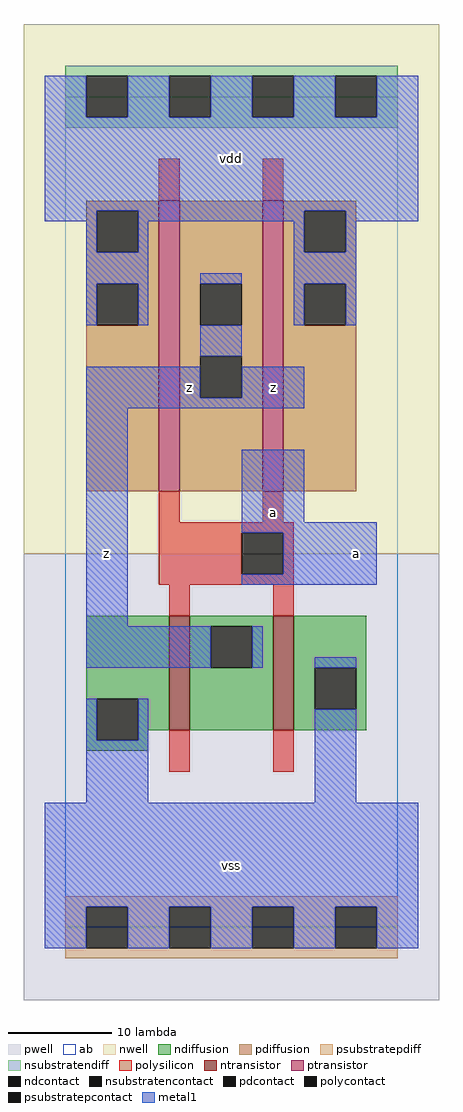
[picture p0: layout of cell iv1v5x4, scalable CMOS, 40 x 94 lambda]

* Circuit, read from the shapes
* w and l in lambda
.subckt iv1v5x4 a vdd vss z
M1 z a vss vss nfet w=11 l=2 m=2
M2 z a vdd vdd pfet w=28 l=2 m=2
.ends

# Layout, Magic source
magic
tech scmos
<< ab >>
rect 0 0 32 80
<< pwell >>
rect -4 -7 36 36
<< nwell >>
rect -4 36 36 87
<< polysilicon >>
rect 9 70 11 74
rect 19 70 21 74
rect 9 39 11 42
rect 19 39 21 42
rect 9 38 22 39
rect 9 34 17 38
rect 21 34 22 38
rect 9 33 22 34
rect 10 30 12 33
rect 20 30 22 33
rect 10 15 12 19
rect 20 15 22 19
<< ndiffusion >>
rect 2 22 10 30
rect 2 18 3 22
rect 7 19 10 22
rect 12 29 20 30
rect 12 25 14 29
rect 18 25 20 29
rect 12 19 20 25
rect 22 25 29 30
rect 22 21 24 25
rect 28 21 29 25
rect 22 19 29 21
rect 7 18 8 19
rect 2 17 8 18
<< pdiffusion >>
rect 2 69 9 70
rect 2 65 3 69
rect 7 65 9 69
rect 2 62 9 65
rect 2 58 3 62
rect 7 58 9 62
rect 2 42 9 58
rect 11 62 19 70
rect 11 58 13 62
rect 17 58 19 62
rect 11 55 19 58
rect 11 51 13 55
rect 17 51 19 55
rect 11 42 19 51
rect 21 69 28 70
rect 21 65 23 69
rect 27 65 28 69
rect 21 62 28 65
rect 21 58 23 62
rect 27 58 28 62
rect 21 42 28 58
<< metal1 >>
rect -2 78 2 82
rect 6 78 10 82
rect 14 78 18 82
rect 22 78 26 82
rect 30 78 34 82
rect -2 69 34 78
rect -2 68 3 69
rect 2 65 3 68
rect 7 68 23 69
rect 7 65 8 68
rect 2 62 8 65
rect 22 65 23 68
rect 27 68 34 69
rect 27 65 28 68
rect 2 58 3 62
rect 7 58 8 62
rect 13 62 17 63
rect 22 62 28 65
rect 22 58 23 62
rect 27 58 28 62
rect 13 55 17 58
rect 2 51 13 54
rect 17 51 23 54
rect 2 50 23 51
rect 2 29 6 50
rect 17 39 23 46
rect 17 38 30 39
rect 21 34 30 38
rect 17 33 30 34
rect 2 25 14 29
rect 18 25 19 29
rect 24 25 28 26
rect 2 18 3 22
rect 7 18 8 22
rect 2 12 8 18
rect 24 12 28 21
rect -2 2 34 12
rect -2 -2 2 2
rect 6 -2 10 2
rect 14 -2 18 2
rect 22 -2 26 2
rect 30 -2 34 2
<< ntransistor >>
rect 10 19 12 30
rect 20 19 22 30
<< ptransistor >>
rect 9 42 11 70
rect 19 42 21 70
<< polycontact >>
rect 17 34 21 38
<< ndcontact >>
rect 3 18 7 22
rect 14 25 18 29
rect 24 21 28 25
<< pdcontact >>
rect 3 65 7 69
rect 3 58 7 62
rect 13 58 17 62
rect 13 51 17 55
rect 23 65 27 69
rect 23 58 27 62
<< psubstratepcontact >>
rect 2 -2 6 2
rect 10 -2 14 2
rect 18 -2 22 2
rect 26 -2 30 2
<< nsubstratencontact >>
rect 2 78 6 82
rect 10 78 14 82
rect 18 78 22 82
rect 26 78 30 82
<< psubstratepdiff >>
rect 0 2 32 3
rect 0 -2 2 2
rect 6 -2 10 2
rect 14 -2 18 2
rect 22 -2 26 2
rect 30 -2 32 2
rect 0 -3 32 -2
<< nsubstratendiff >>
rect 0 82 32 83
rect 0 78 2 82
rect 6 78 10 82
rect 14 78 18 82
rect 22 78 26 82
rect 30 78 32 82
rect 0 77 32 78
<< labels >>
rlabel metal1 4 36 4 36 6 z
rlabel metal1 12 52 12 52 6 z
rlabel metal1 16 6 16 6 6 vss
rlabel metal1 20 40 20 40 6 a
rlabel metal1 20 52 20 52 6 z
rlabel metal1 16 74 16 74 6 vdd
rlabel metal1 28 36 28 36 6 a
<< end >>
